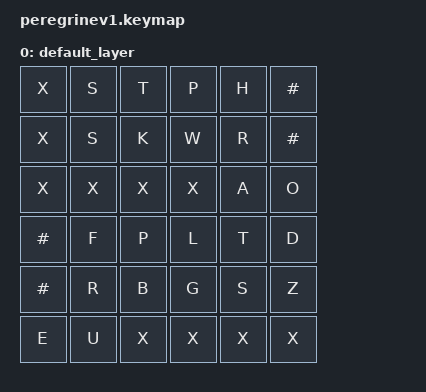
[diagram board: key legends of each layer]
/ {
    keymap {
        compatible = "zmk,keymap";

        default_layer {
            bindings = <
                &kp X   &kp S   &kp T   &kp P   &kp H   &kp HASH
                &kp X   &kp S   &kp K   &kp W   &kp R   &kp HASH
                &kp X   &kp X   &kp X   &kp X   &kp A   &kp O 

                &kp HASH   &kp F   &kp P   &kp L   &kp T   &kp D
                &kp HASH   &kp R   &kp B   &kp G   &kp S   &kp Z
                &kp E      &kp U   &kp X   &kp X   &kp X   &kp X
            >;
        };
    };
};
